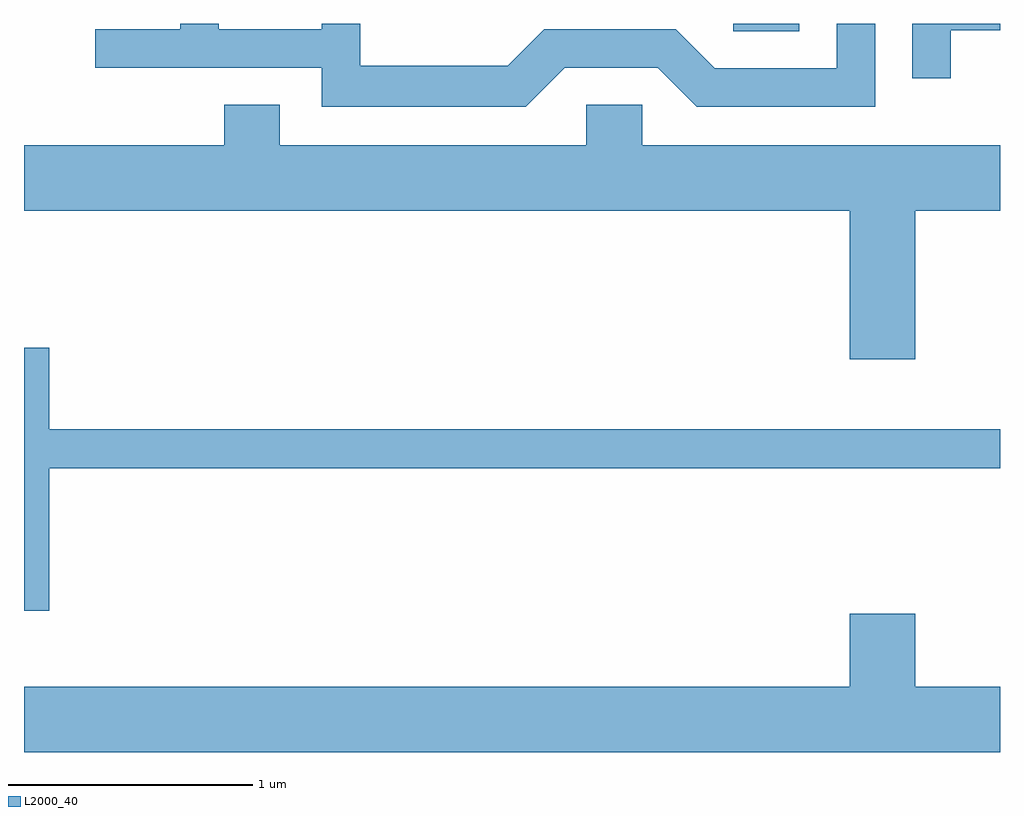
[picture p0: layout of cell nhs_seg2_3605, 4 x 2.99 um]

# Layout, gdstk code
import gdstk
lib = gdstk.Library(unit=1e-6, precision=1e-09)
def R(c, l, rs):  # rectangles x0, y0, x1, y1
    for r in rs: c.add(gdstk.rectangle(r[:2], r[2:], *l))
def P(c, l, *ps):  # polygons
    for p in ps: c.add(gdstk.Polygon(p, *l))
L2000_40 = (2000, 40)

nhs_seg2_3605 = lib.new_cell('nhs_seg2_3605')
R(nhs_seg2_3605, L2000_40, [(294.518,995.771,294.789,995.802)])
P(nhs_seg2_3605, L2000_40, [(293.827,995.621),(294.209,995.621),(294.369,995.461),(295.099,995.461),(295.099,995.802),(294.941,995.802),(294.941,995.619),(294.442,995.619),(294.282,995.779),(293.744,995.779),(293.594,995.629),(292.989,995.629),(292.989,995.802),(292.831,995.802),(292.831,995.779),(292.409,995.779),(292.409,995.802),(292.251,995.802),(292.251,995.779),(291.903,995.779),(291.903,995.621),(292.831,995.621),(292.831,995.461),(293.667,995.461)],
  [(295.409,995.776),(295.611,995.776),(295.611,995.802),(295.251,995.802),(295.251,995.578),(295.409,995.578)],
  [(295.264,995.036),(295.611,995.036),(295.611,995.304),(294.144,995.304),(294.144,995.469),(293.916,995.469),(293.916,995.304),(292.659,995.304),(292.659,995.469),(292.431,995.469),(292.431,995.304),(291.611,995.304),(291.611,995.036),(294.996,995.036),(294.996,994.426),(295.264,994.426)],
  [(291.714,993.981),(295.611,993.981),(295.611,994.139),(291.714,994.139),(291.714,994.474),(291.611,994.474),(291.611,993.396),(291.714,993.396)],
  [(295.611,993.084),(295.264,993.084),(295.264,993.384),(294.996,993.384),(294.996,993.084),(291.611,993.084),(291.611,992.816),(295.611,992.816)])

lib.write_gds('nhs_seg2_3605.gds')
